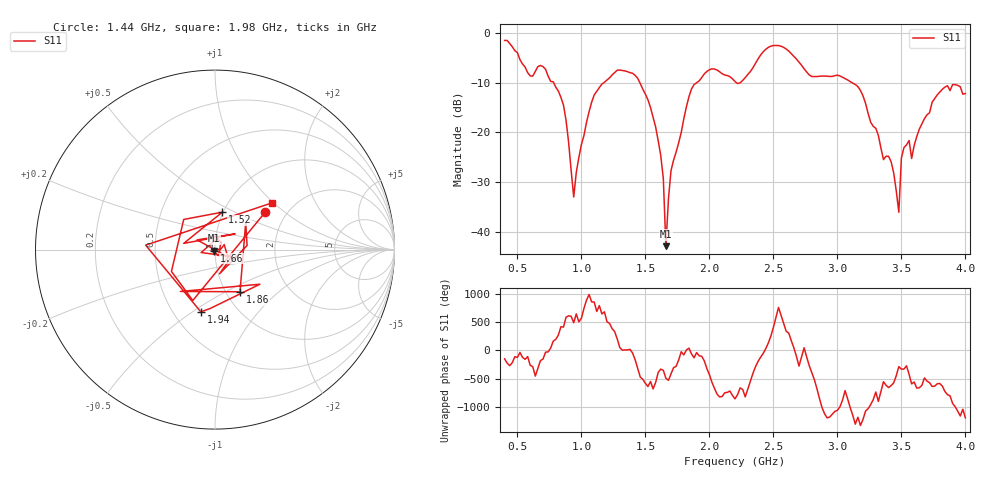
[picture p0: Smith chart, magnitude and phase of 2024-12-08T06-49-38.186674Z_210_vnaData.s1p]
!Created with skrf (http://scikit-rf.org).
# Hz S RI R 50.0
!freq ReS11 ImS11
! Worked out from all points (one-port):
!   181 points, 400 MHz to 4 GHz, reference 50 ohm
!   lowest |S11| = -42.8 dB at 1.66 GHz (marker M1), VSWR 1.01, Z = 49.5 - j0.519 ohm
!   |S11| at or under -10 dB: 783.3 MHz to 1.176 GHz (392.4 MHz wide, 40.1 % of centre); 1.456 GHz to 1.9 GHz (444 MHz wide, 26.5 % of centre); 3.114 GHz to end of sweep (the widest 3 of 4)
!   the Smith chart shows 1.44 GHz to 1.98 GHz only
!   S11 on the Smith chart (normalised r, x): 1.44 GHz: 1.56, +0.74; 1.52 GHz: 0.99, +0.43; 1.66 GHz: 0.99, -0.01; 1.86 GHz: 1.16, -0.59; 1.94 GHz: 0.68, -0.54; 1.98 GHz: 1.56, +0.97
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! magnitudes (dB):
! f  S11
! 400 MHz  -1.5
! 600 MHz  -8.6
! 720 MHz  -7.3
! 860 MHz  -14.5
! 940 MHz  -33.0
! 1.1 GHz  -12.5
! 1.3 GHz  -7.5
! 1.44 GHz  -9.1
! 1.52 GHz  -13.5
! 1.62 GHz  -24.7
! 1.64 GHz  -29.3
! 1.66 GHz  -42.8
! 1.7 GHz  -27.7
! 1.76 GHz  -22.1
! 1.86 GHz  -11.3
! 1.94 GHz  -9.0
! 1.98 GHz  -7.8
! 2.2 GHz  -9.8
! 2.48 GHz  -2.7
! 2.66 GHz  -4.7
! 3.1 GHz  -9.8
! 3.42 GHz  -25.9
! 3.48 GHz  -36.0
! 3.5 GHz  -25.1
! 3.56 GHz  -21.6
! 3.58 GHz  -25.2
! 3.84 GHz  -10.9
! 4 GHz  -12.2
